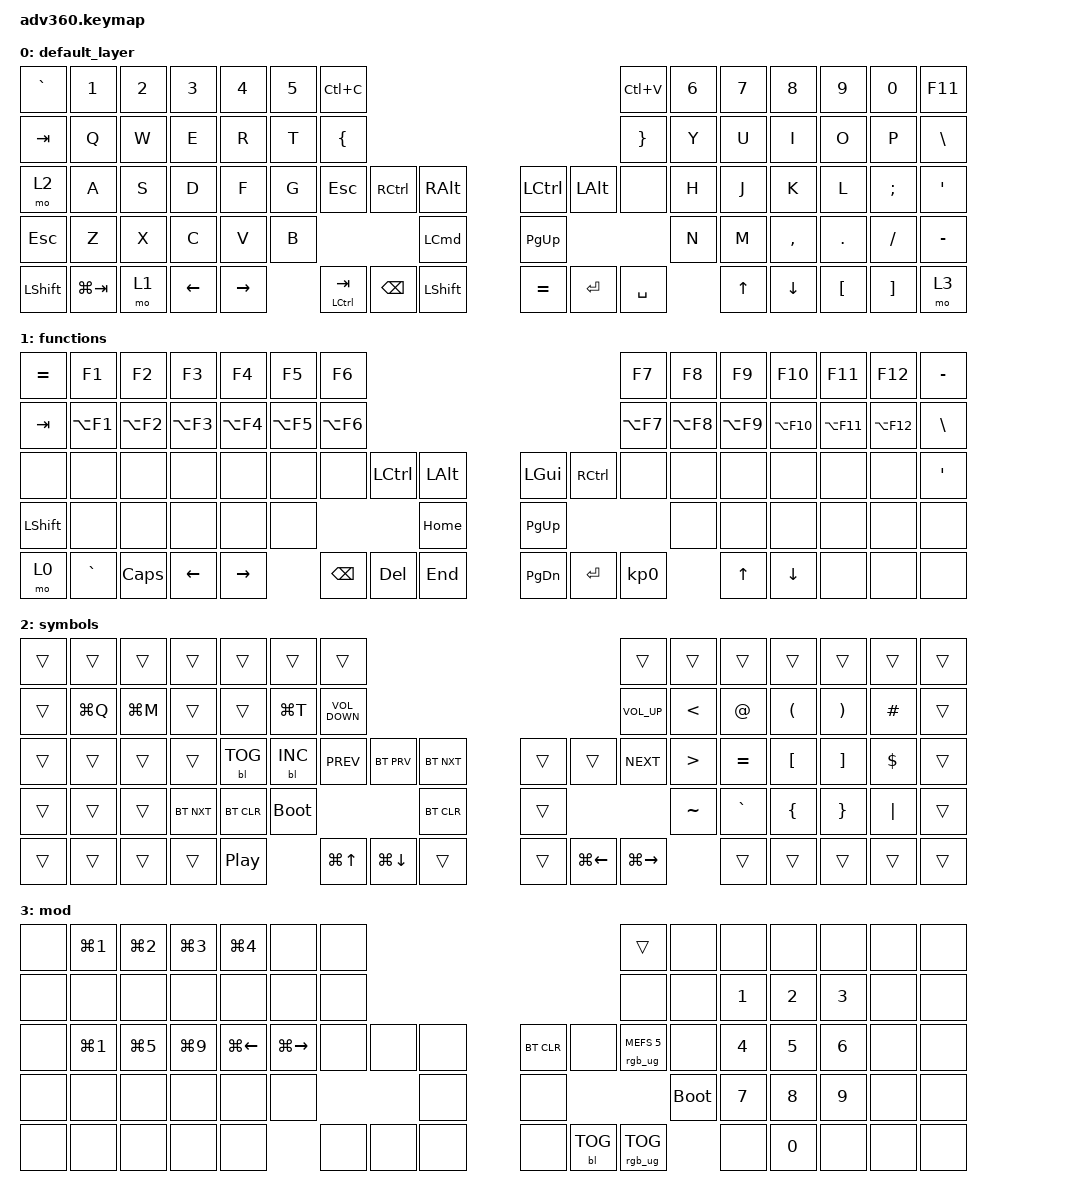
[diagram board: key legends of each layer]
#include <behaviors.dtsi>
#include <dt-bindings/zmk/backlight.h>
#include <dt-bindings/zmk/bt.h>
#include <dt-bindings/zmk/keys.h>
#include <dt-bindings/zmk/keys.h>
#include <dt-bindings/zmk/rgb.h>

/ {
    behaviors {
        #include "macros.dtsi"
      #include "version.dtsi"
      #ifndef VERSION_MACRO

        macro_ver: macro_ver {
            compatible = "zmk,behavior-macro";
            label = "macro_version";
            #binding-cells = <0>;
            bindings = <&kp RET>;
        };

        super_up: super_up {
            compatible = "zmk,behavior-macro";
            #binding-cells = <0>;
            bindings = <&sk LG(UP_ARROW)>;
            label = "SUPER_UP";
        };

        #endif

        hm: homerow_mods {
            compatible = "zmk,behavior-hold-tap";
            label = "HOMEROW_MODS";
            #binding-cells = <2>;
            tapping-term-ms = <200>;
            quick_tap_ms = <175>;
            flavor = "tap-preferred";
            bindings = <&kp>, <&kp>;
        };

        ht: ht {
            compatible = "zmk,behavior-hold-tap";
            label = "HT";
            bindings = <&kt>, <&kp>;

            #binding-cells = <2>;
            hold-trigger-key-positions = <66>;
            tapping-term-ms = <200>;
        };
    };

    macros {
    };

    keymap {
        compatible = "zmk,keymap";

        default_layer {
            bindings = <
&kp GRAVE       &kp N1       &kp N2  &kp N3    &kp N4     &kp N5  &kp LC(C)                                                                                &kp LC(V)        &kp N6  &kp N7  &kp N8     &kp N9    &kp N0    &kp F11
&kp TAB         &kp Q        &kp W   &kp E     &kp R      &kp T   &kp LEFT_BRACE                                                                           &kp RIGHT_BRACE  &kp Y   &kp U   &kp I      &kp O     &kp P     &kp BSLH
&mo 2           &kp A        &kp S   &kp D     &kp F      &kp G   &kp ESCAPE      &kp RIGHT_CONTROL  &kp RIGHT_ALT         &kp LEFT_CONTROL  &kp LEFT_ALT  &none            &kp H   &kp J   &kp K      &kp L     &kp SEMI  &kp SQT
&kp ESCAPE      &kp Z        &kp X   &kp C     &kp V      &kp B                                      &kp LEFT_COMMAND      &kp PG_UP                                        &kp N   &kp M   &kp COMMA  &kp DOT   &kp FSLH  &kp MINUS
&kp LEFT_SHIFT  &kp LG(TAB)  &mo 1   &kp LEFT  &kp RIGHT          &hm LCTRL TAB   &kp BACKSPACE      &kp LEFT_SHIFT        &kp EQUAL         &kp ENTER     &kp SPACE                &kp UP  &kp DOWN   &kp LBKT  &kp RBKT  &mo 3
            >;
        };

        functions {
            bindings = <
&kp EQUAL  &kp F1      &kp F2      &kp F3      &kp F4      &kp F5      &kp F6                                                     &kp F7      &kp F8      &kp F9      &kp F10      &kp F11      &kp F12      &kp MINUS
&kp TAB    &kp LA(F1)  &kp LA(F2)  &kp LA(F3)  &kp LA(F4)  &kp LA(F5)  &kp LA(F6)                                                 &kp LA(F7)  &kp LA(F8)  &kp LA(F9)  &kp LA(F10)  &kp LA(F11)  &kp LA(F12)  &kp BSLH
&none      &none       &none       &none       &none       &none       &none       &kp LCTRL  &kp LALT      &kp LGUI   &kp RCTRL  &none       &none       &none       &none        &none        &none        &kp SQT
&kp LSHFT  &none       &none       &none       &none       &none                              &kp HOME      &kp PG_UP                         &none       &none       &none        &none        &none        &none
&mo 0      &kp GRAVE   &kp CAPS    &kp LEFT    &kp RIGHT               &kp BSPC    &kp DEL    &kp END       &kp PG_DN  &kp ENTER  &kp KP_N0               &kp UP      &kp DOWN     &none        &none        &none
            >;
        };

        symbols {
            bindings = <
&trans  &trans     &trans     &trans      &trans      &trans       &trans                                                                       &trans           &trans            &trans       &trans                &trans                 &trans      &trans
&trans  &kp LG(Q)  &kp LG(M)  &trans      &trans      &kp LG(T)    &kp C_VOLUME_DOWN                                                            &kp C_VOLUME_UP  &kp LESS_THAN     &kp AT_SIGN  &kp LEFT_PARENTHESIS  &kp RIGHT_PARENTHESIS  &kp HASH    &trans
&trans  &trans     &trans     &trans      &bl BL_TOG  &bl BL_INC   &kp C_PREV         &bt BT_PRV          &bt BT_NXT      &trans  &trans        &kp C_NEXT       &kp GREATER_THAN  &kp EQUAL    &kp LEFT_BRACKET      &kp RIGHT_BRACKET      &kp DOLLAR  &trans
&trans  &trans     &trans     &bt BT_NXT  &bt BT_CLR  &bootloader                                         &bt BT_CLR      &trans                                 &kp TILDE         &kp GRAVE    &kp LEFT_BRACE        &kp RIGHT_BRACE        &kp PIPE    &trans
&trans  &trans     &trans     &trans      &kp C_PP                 &kp LG(UP_ARROW)   &kp LG(DOWN_ARROW)  &trans          &trans  &kp LG(LEFT)  &kp LG(RIGHT)                      &trans       &trans                &trans                 &trans      &trans
            >;
        };

        mod {
            bindings = <
&none  &kp LG(NUMBER_1)  &kp LG(NUMBER_2)  &kp LG(NUMBER_3)  &kp LG(NUMBER_4)  &none          &none                                            &trans                  &none        &none         &none         &none         &none  &none
&none  &none             &none             &none             &none             &none          &none                                            &none                   &none        &kp NUMBER_1  &kp NUMBER_2  &kp NUMBER_3  &none  &none
&none  &kp LG(NUMBER_1)  &kp LG(NUMBER_5)  &kp LG(NUMBER_9)  &kp LG(LEFT)      &kp LG(RIGHT)  &none  &none  &none      &bt BT_CLR  &none       &rgb_ug RGB_MEFS_CMD 5  &none        &kp NUMBER_4  &kp NUMBER_5  &kp NUMBER_6  &none  &none
&none  &none             &none             &none             &none             &none                        &none      &none                                           &bootloader  &kp NUMBER_7  &kp NUMBER_8  &kp NUMBER_9  &none  &none
&none  &none             &none             &none             &none                            &none  &none  &none      &none       &bl BL_TOG  &rgb_ug RGB_TOG                      &none         &kp N0        &none         &none  &none
            >;
        };
    };
};
